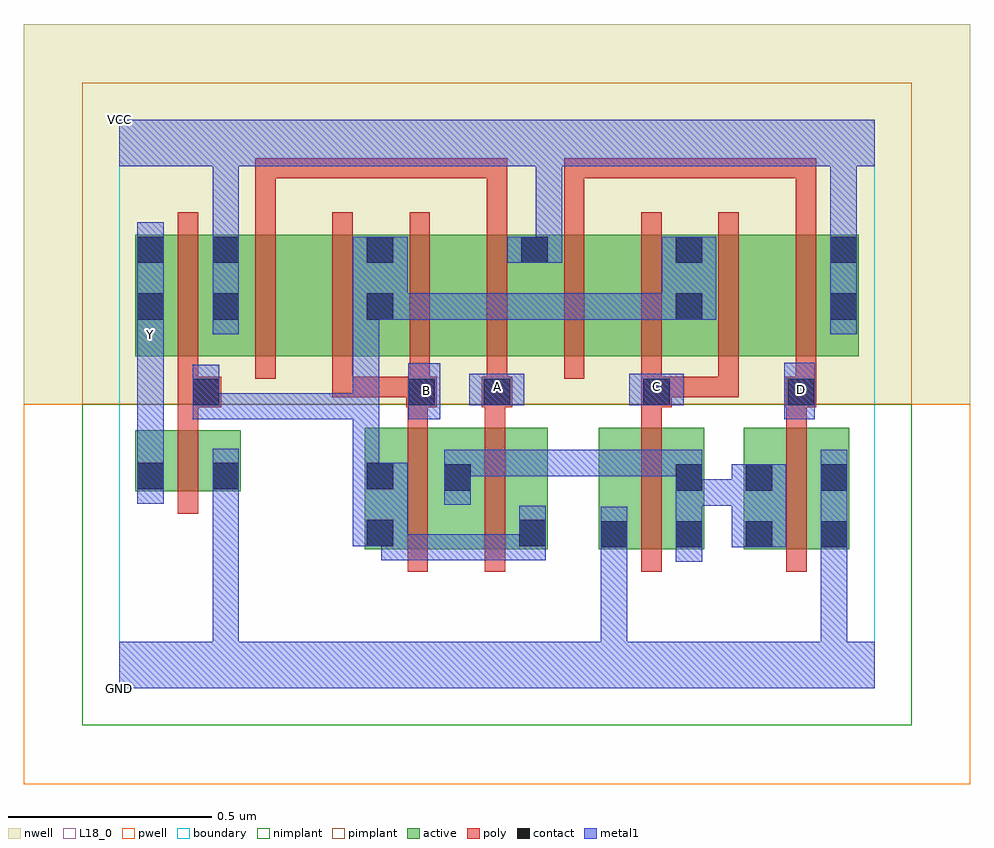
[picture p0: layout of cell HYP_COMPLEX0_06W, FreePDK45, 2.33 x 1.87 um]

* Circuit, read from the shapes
.subckt HYP_COMPLEX0_06W A B C D GND VCC Y
M1 GND n1 Y VSUBS nfet w=0.15u l=0.05u
M2 n2 B n1 VSUBS nfet w=0.3u l=0.05u
M3 n1 A n2 VSUBS nfet w=0.3u l=0.05u
M4 n2 C GND VSUBS nfet w=0.3u l=0.05u
M5 GND D n2 VSUBS nfet w=0.3u l=0.05u
M6 VCC n1 Y n3 pfet w=0.3u l=0.05u
M7 n4 A VCC n3 pfet w=0.3u l=0.05u
M8 n1 B n4 n3 pfet w=0.3u l=0.05u
M9 n5 B n1 n3 pfet w=0.3u l=0.05u
M10 VCC A n5 n3 pfet w=0.3u l=0.05u
M11 n6 D VCC n3 pfet w=0.3u l=0.05u
M12 n1 C n6 n3 pfet w=0.3u l=0.05u
M13 n7 C n1 n3 pfet w=0.3u l=0.05u
M14 VCC D n7 n3 pfet w=0.3u l=0.05u
.ends

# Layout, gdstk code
import gdstk
lib = gdstk.Library(unit=1e-6, precision=1e-09)
def R(c, l, rs):  # rectangles x0, y0, x1, y1
    for r in rs: c.add(gdstk.rectangle(r[:2], r[2:], *l))
def A(c, l, x, y, w, h, nx, ny, dx, dy):  # array of equal rectangles
    R(c, l, [(x+i*dx, y+j*dy, x+i*dx+w, y+j*dy+h) for i in range(nx) for j in range(ny)])
active = (1, 0)
pwell = (2, 0)
nwell = (3, 0)
nimplant = (4, 0)
pimplant = (5, 0)
poly = (9, 0)
contact = (10, 0)
metal1 = (11, 0)
L18_0 = (18, 0)
boundary = (235, 0)

hyp_complex0_06w = lib.new_cell('HYP_COMPLEX0_06W')
A(hyp_complex0_06w, active, 0.225, 0.817, 0.075, 0.3, 5, 1, 0.38, 0)
A(hyp_complex0_06w, active, 0.225, 0.817, 0.23, 0.3, 4, 1, 0.38, 0)
A(hyp_complex0_06w, active, 0.455, 0.817, 0.225, 0.3, 4, 1, 0.38, 0)
R(hyp_complex0_06w, active, [(0.605,0.342,0.87,0.642), (0.795,0.342,1.055,0.642), (1.18,0.342,1.255,0.642), (1.18,0.342,1.44,0.642), (1.365,0.342,1.44,0.642), (1.537,0.342,1.612,0.642), (1.537,0.342,1.797,0.642), (1.722,0.342,1.797,0.642), (0.605,0.345,0.68,0.642), (0.795,0.345,0.87,0.557), (0.98,0.345,1.055,0.642), (0.04,0.485,0.115,0.635), (0.04,0.485,0.3,0.635), (0.225,0.485,0.3,0.635), (0.04,0.817,0.115,1.117), (0.04,0.817,0.3,1.117)])
R(hyp_complex0_06w, pwell, [(-0.235,-0.235,2.095,0.7)])
R(hyp_complex0_06w, nwell, [(-0.235,0.7,2.095,1.635)])
R(hyp_complex0_06w, nimplant, [(-0.09,-0.09,1.95,0.7)])
R(hyp_complex0_06w, pimplant, [(-0.09,0.7,1.95,1.49)])
A(hyp_complex0_06w, poly, 0.525, 0.717, 0.05, 0.095, 3, 1, 0.19, 0)
A(hyp_complex0_06w, poly, 1.285, 0.717, 0.05, 0.095, 3, 1, 0.19, 0)
A(hyp_complex0_06w, poly, 0.145, 0.762, 0.05, 0.41, 9, 1, 0.19, 0)
R(hyp_complex0_06w, poly, [(0.71,0.287,0.76,0.697), (0.9,0.287,0.95,0.697), (1.285,0.287,1.335,0.697), (1.642,0.287,1.692,0.697), (0.145,0.43,0.195,0.69), (0.145,0.64,0.195,0.742), (0.71,0.647,0.76,0.742), (0.9,0.647,0.95,0.742), (1.285,0.647,1.335,0.742), (1.642,0.647,1.692,0.742), (0.145,0.692,0.252,0.767), (0.707,0.692,0.782,0.767), (0.892,0.692,0.967,0.767), (1.285,0.692,1.36,0.767), (1.64,0.692,1.715,0.767), (0.145,0.717,0.195,0.812), (0.525,0.717,0.575,0.767), (0.525,0.717,0.575,0.767), (0.525,0.717,0.575,0.767), (0.525,0.717,0.757,0.767), (1.31,0.717,1.36,0.767), (1.31,0.717,1.36,0.767), (1.31,0.717,1.525,0.767), (1.475,0.717,1.525,0.767), (0.335,1.122,0.385,1.305), (0.905,1.122,0.955,1.305), (1.095,1.122,1.145,1.305), (1.665,1.122,1.715,1.305), (0.335,1.255,0.385,1.305), (0.335,1.255,0.385,1.305), (0.335,1.255,0.385,1.305), (0.335,1.255,0.575,1.305), (0.525,1.255,0.575,1.305), (0.525,1.255,0.707,1.305), (0.657,1.255,0.707,1.305), (0.657,1.255,0.707,1.305), (0.657,1.255,0.707,1.305), (0.657,1.255,0.955,1.305), (0.905,1.255,0.955,1.305), (0.905,1.255,0.955,1.305), (0.905,1.255,0.955,1.305), (1.095,1.255,1.145,1.305), (1.095,1.255,1.145,1.305), (1.095,1.255,1.145,1.305), (1.095,1.255,1.387,1.305), (1.337,1.255,1.387,1.305), (1.337,1.255,1.387,1.305), (1.337,1.255,1.387,1.305), (1.337,1.255,1.557,1.305), (1.507,1.255,1.715,1.305), (1.507,1.255,1.557,1.305), (1.507,1.255,1.557,1.305), (1.507,1.255,1.557,1.305), (1.665,1.255,1.715,1.305)])
A(hyp_complex0_06w, contact, 0.23, 1.047, 0.065, 0.065, 5, 1, 0.38, 0)
R(hyp_complex0_06w, contact, [(1.185,0.347,1.25,0.412), (1.37,0.347,1.435,0.412), (1.542,0.347,1.607,0.412), (1.727,0.347,1.792,0.412), (0.61,0.35,0.675,0.415), (0.985,0.35,1.05,0.415), (0.8,0.487,0.865,0.552), (1.37,0.487,1.435,0.552), (1.542,0.487,1.607,0.552), (1.727,0.487,1.792,0.552), (0.045,0.49,0.11,0.555), (0.23,0.49,0.295,0.555), (0.61,0.49,0.675,0.555), (0.182,0.697,0.247,0.762), (0.712,0.697,0.777,0.762), (0.897,0.697,0.962,0.762), (1.29,0.697,1.355,0.762), (1.645,0.697,1.71,0.762), (0.045,0.907,0.11,0.972), (0.23,0.907,0.295,0.972), (0.61,0.907,0.675,0.972), (1.37,0.907,1.435,0.972), (1.75,0.907,1.815,0.972), (0.045,1.047,0.11,1.112)])
R(hyp_complex0_06w, metal1, [(0,0,1.86,0.115), (0.23,0.05,0.295,0.115), (0.23,0.05,0.295,0.115), (0.23,0.05,0.295,0.115), (0.23,0.05,0.295,0.115), (0.23,0.05,0.295,0.115), (0.23,0.05,0.295,0.115), (0.23,0.05,0.295,0.52), (1.185,0.05,1.25,0.377), (1.727,0.05,1.792,0.115), (1.727,0.05,1.792,0.115), (1.727,0.05,1.792,0.115), (1.727,0.05,1.792,0.115), (1.727,0.05,1.792,0.377), (1.185,0.312,1.25,0.377), (1.185,0.312,1.25,0.377), (1.185,0.312,1.25,0.377), (1.185,0.312,1.25,0.377), (1.185,0.312,1.25,0.447), (1.37,0.312,1.435,0.587), (1.727,0.312,1.792,0.587), (0.645,0.315,0.71,0.38), (0.645,0.315,0.71,0.38), (0.645,0.315,0.71,0.38), (0.645,0.315,0.847,0.38), (0.645,0.315,0.71,0.415), (0.782,0.315,0.847,0.38), (0.782,0.315,0.847,0.38), (0.782,0.315,0.847,0.38), (0.782,0.315,1.05,0.38), (0.985,0.315,1.05,0.45), (1.507,0.347,1.642,0.552), (0.575,0.35,0.71,0.555), (1.37,0.45,1.435,0.515), (1.37,0.45,1.435,0.515), (1.37,0.45,1.572,0.515), (0.8,0.452,0.865,0.587), (0.045,0.455,0.11,0.59), (0.23,0.455,0.295,0.59), (0.575,0.49,0.64,0.727), (0.8,0.522,0.865,0.587), (0.8,0.522,0.865,0.587), (0.8,0.522,1.112,0.587), (1.047,0.522,1.112,0.587), (1.047,0.522,1.112,0.587), (1.047,0.522,1.112,0.587), (1.047,0.522,1.262,0.587), (1.197,0.522,1.262,0.587), (1.197,0.522,1.262,0.587), (1.197,0.522,1.262,0.587), (1.197,0.522,1.435,0.587), (0.045,0.525,0.11,0.867), (0.182,0.662,0.247,0.727), (0.182,0.662,0.247,0.727), (0.182,0.662,0.385,0.727), (0.182,0.662,0.247,0.797), (0.32,0.662,0.385,0.727), (0.32,0.662,0.385,0.727), (0.32,0.662,0.385,0.727), (0.32,0.662,0.522,0.727), (0.457,0.662,0.522,0.727), (0.457,0.662,0.64,0.727), (0.575,0.662,0.64,0.727), (0.575,0.662,0.64,0.972), (0.712,0.662,0.79,0.8), (1.637,0.662,1.712,0.802), (0.862,0.697,0.997,0.775), (1.255,0.697,1.39,0.775), (0.045,0.802,0.11,0.937), (0.045,0.872,0.11,0.937), (0.045,0.872,0.11,1.147), (0.23,0.872,0.295,1.147), (1.75,0.872,1.815,1.147), (0.575,0.907,0.71,1.112), (0.645,0.907,0.71,0.972), (0.645,0.907,0.71,0.972), (0.645,0.907,0.882,0.972), (0.817,0.907,0.882,0.972), (0.817,0.907,0.882,0.972), (0.817,0.907,0.882,0.972), (0.817,0.907,1.02,0.972), (0.955,0.907,1.02,0.972), (0.955,0.907,1.02,0.972), (0.955,0.907,1.02,0.972), (0.955,0.907,1.262,0.972), (1.197,0.907,1.262,0.972), (1.197,0.907,1.262,0.972), (1.197,0.907,1.262,0.972), (1.197,0.907,1.4,0.972), (1.335,0.907,1.47,1.112), (0.955,1.047,1.09,1.112), (1.025,1.047,1.09,1.35), (0.23,1.082,0.295,1.35), (1.75,1.082,1.815,1.35), (0,1.285,1.86,1.4), (0.23,1.285,0.295,1.35), (0.23,1.285,0.295,1.35), (1.025,1.285,1.09,1.35), (1.025,1.285,1.09,1.35), (1.75,1.285,1.815,1.35), (1.75,1.285,1.815,1.35)])
R(hyp_complex0_06w, L18_0, [(0,0,1.86,0.115), (0.23,0.05,0.295,0.115), (0.23,0.05,0.295,0.115), (0.23,0.05,0.295,0.115), (0.23,0.05,0.295,0.115), (0.23,0.05,0.295,0.115), (0.23,0.05,0.295,0.115), (0.23,0.05,0.295,0.52), (1.185,0.05,1.25,0.377), (1.727,0.05,1.792,0.115), (1.727,0.05,1.792,0.115), (1.727,0.05,1.792,0.115), (1.727,0.05,1.792,0.115), (1.727,0.05,1.792,0.377), (1.185,0.312,1.25,0.447), (1.185,0.312,1.25,0.377), (1.185,0.312,1.25,0.377), (1.185,0.312,1.25,0.377), (1.185,0.312,1.25,0.377), (1.727,0.312,1.792,0.587), (0.045,0.455,0.11,0.59), (0.23,0.455,0.295,0.59), (0.045,0.525,0.11,0.867), (0.712,0.662,0.79,0.8), (1.637,0.662,1.712,0.802), (0.862,0.697,0.997,0.775), (1.255,0.697,1.39,0.775), (0.725,0.7,0.79,0.765), (1.647,0.702,1.712,0.767), (0.897,0.71,0.962,0.775), (1.29,0.71,1.355,0.775), (0.045,0.802,0.11,0.937), (0.045,0.837,0.11,0.902), (0.045,0.872,0.11,1.147), (0.045,0.872,0.11,0.937), (0.23,0.872,0.295,1.147), (1.75,0.872,1.815,1.147), (0.955,1.047,1.09,1.112), (1.025,1.047,1.09,1.35), (0.23,1.082,0.295,1.35), (1.75,1.082,1.815,1.35), (0,1.285,1.86,1.4), (0.23,1.285,0.295,1.35), (0.23,1.285,0.295,1.35), (1.025,1.285,1.09,1.35), (1.025,1.285,1.09,1.35), (1.75,1.285,1.815,1.35), (1.75,1.285,1.815,1.35)])
R(hyp_complex0_06w, boundary, [(0,0,1.86,1.4)])
hyp_complex0_06w.add(gdstk.Label('A', (0.93,0.742), layer=11, texttype=0))
hyp_complex0_06w.add(gdstk.Label('B', (0.757,0.732), layer=11, texttype=0))
hyp_complex0_06w.add(gdstk.Label('C', (1.322,0.742), layer=11, texttype=0))
hyp_complex0_06w.add(gdstk.Label('D', (1.68,0.735), layer=11, texttype=0))
hyp_complex0_06w.add(gdstk.Label('Y', (0.077,0.87), layer=11, texttype=0))
hyp_complex0_06w.add(gdstk.Label('VCC', (0,1.4), layer=11, texttype=0))
hyp_complex0_06w.add(gdstk.Label('GND', (0,0), layer=11, texttype=0))

lib.write_gds('HYP_COMPLEX0_06W.gds')
